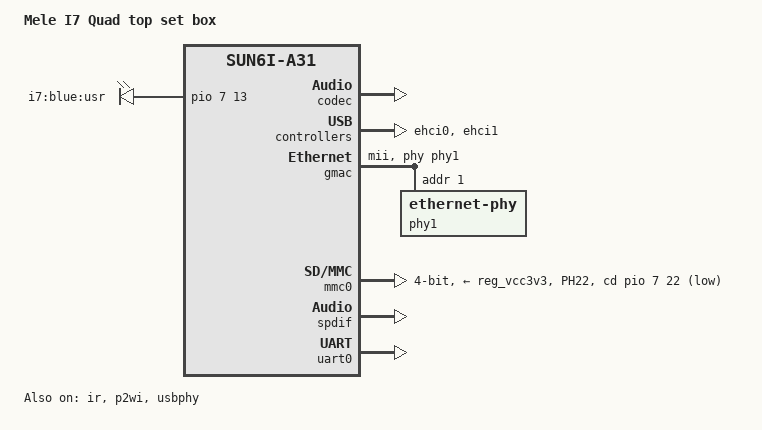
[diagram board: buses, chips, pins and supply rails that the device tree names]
/*
 * Copyright 2015 Marcus Cooper <codekipper@gmail.com>
 *
 * This file is dual-licensed: you can use it either under the terms
 * of the GPL or the X11 license, at your option. Note that this dual
 * licensing only applies to this file, and not this project as a
 * whole.
 *
 *  a) This file is free software; you can redistribute it and/or
 *     modify it under the terms of the GNU General Public License as
 *     published by the Free Software Foundation; either version 2 of the
 *     License, or (at your option) any later version.
 *
 *     This file is distributed in the hope that it will be useful,
 *     but WITHOUT ANY WARRANTY; without even the implied warranty of
 *     MERCHANTABILITY or FITNESS FOR A PARTICULAR PURPOSE.  See the
 *     GNU General Public License for more details.
 *
 * Or, alternatively,
 *
 *  b) Permission is hereby granted, free of charge, to any person
 *     obtaining a copy of this software and associated documentation
 *     files (the "Software"), to deal in the Software without
 *     restriction, including without limitation the rights to use,
 *     copy, modify, merge, publish, distribute, sublicense, and/or
 *     sell copies of the Software, and to permit persons to whom the
 *     Software is furnished to do so, subject to the following
 *     conditions:
 *
 *     The above copyright notice and this permission notice shall be
 *     included in all copies or substantial portions of the Software.
 *
 *     THE SOFTWARE IS PROVIDED "AS IS", WITHOUT WARRANTY OF ANY KIND,
 *     EXPRESS OR IMPLIED, INCLUDING BUT NOT LIMITED TO THE WARRANTIES
 *     OF MERCHANTABILITY, FITNESS FOR A PARTICULAR PURPOSE AND
 *     NONINFRINGEMENT. IN NO EVENT SHALL THE AUTHORS OR COPYRIGHT
 *     HOLDERS BE LIABLE FOR ANY CLAIM, DAMAGES OR OTHER LIABILITY,
 *     WHETHER IN AN ACTION OF CONTRACT, TORT OR OTHERWISE, ARISING
 *     FROM, OUT OF OR IN CONNECTION WITH THE SOFTWARE OR THE USE OR
 *     OTHER DEALINGS IN THE SOFTWARE.
 */

/dts-v1/;
#include "sun6i-a31.dtsi"
#include "sunxi-common-regulators.dtsi"

#include <dt-bindings/gpio/gpio.h>
#include <dt-bindings/pinctrl/sun4i-a10.h>

/ {
	model = "Mele I7 Quad top set box";
	compatible = "mele,i7", "allwinner,sun6i-a31";

	aliases {
		serial0 = &uart0;
	};

	chosen {
		stdout-path = "serial0:115200n8";
	};

	leds {
		compatible = "gpio-leds";
		pinctrl-names = "default";
		pinctrl-0 = <&led_pins_i7>;

		blue {
			label = "i7:blue:usr";
			gpios = <&pio 7 13 GPIO_ACTIVE_HIGH>;
		};
	};

	sound {
		compatible = "allwinner,sunxi-audio-spdif";
		model = "On-board SPDIF";
		spdif-controller = <&spdif>;
		spdif-out;
	};
};

&codec {
	routing =
		"Headphone Jack", "HP Right",
		"Headphone Jack", "HP Left";
	status = "okay";
};

&ehci0 {
	status = "okay";
};

&ehci1 {
	status = "okay";
};

&gmac {
	pinctrl-names = "default";
	pinctrl-0 = <&gmac_pins_mii_a>;
	phy = <&phy1>;
	phy-mode = "mii";
	status = "okay";

	phy1: ethernet-phy@1 {
		reg = <1>;
	};
};

&ir {
	pinctrl-names = "default";
	pinctrl-0 = <&ir_pins_a>;
	status = "okay";
};

&mmc0 {
	pinctrl-names = "default";
	pinctrl-0 = <&mmc0_pins_a>, <&mmc0_cd_pin_i7>;
	vmmc-supply = <&reg_vcc3v3>;
	bus-width = <4>;
	cd-gpios = <&pio 7 22 GPIO_ACTIVE_HIGH>; /* PH22 */
	cd-inverted;
	status = "okay";
};

&p2wi {
	status = "okay";

	axp221: pmic@68 {
		compatible = "x-powers,axp221";
		reg = <0x68>;
		interrupt-parent = <&nmi_intc>;
		interrupts = <0 IRQ_TYPE_LEVEL_LOW>;
		interrupt-controller;
		#interrupt-cells = <1>;
		dcdc1-supply = <&vcc_3v0>;
		dcdc5-supply = <&vcc_dram>;

		regulators {
			x-powers,dcdc-freq = <3000>;

			vcc_3v0: dcdc1 {
				regulator-always-on;
				regulator-min-microvolt = <3000000>;
				regulator-max-microvolt = <3000000>;
				regulator-name = "vcc-3v0";
			};

			vdd_cpu: dcdc2 {
				regulator-always-on;
				regulator-min-microvolt = <700000>;
				regulator-max-microvolt = <1320000>;
				regulator-name = "vdd-cpu";
			};

			vdd_gpu: dcdc3 {
				regulator-always-on;
				regulator-min-microvolt = <700000>;
				regulator-max-microvolt = <1320000>;
				regulator-name = "vdd-gpu";
			};

			vdd_sys_dll: dcdc4 {
				regulator-always-on;
				regulator-min-microvolt = <1100000>;
				regulator-max-microvolt = <1100000>;
				regulator-name = "vdd-sys-dll";
			};

			vcc_dram: dcdc5 {
				regulator-always-on;
				regulator-min-microvolt = <1500000>;
				regulator-max-microvolt = <1500000>;
				regulator-name = "vcc-dram";
			};

			vcc_wifi: aldo1 {
				regulator-min-microvolt = <3300000>;
				regulator-max-microvolt = <3300000>;
				regulator-name = "vcc_wifi";
			};

			avcc: aldo3 {
				regulator-always-on;
				regulator-min-microvolt = <3000000>;
				regulator-max-microvolt = <3000000>;
				regulator-name = "avcc";
			};

			vdd1v5_csi: eldo1 {
				regulator-min-microvolt = <1500000>;
				regulator-max-microvolt = <1500000>;
				regulator-name = "eldo1";
			};

			vdd1v8_csi: eldo2 {
				regulator-min-microvolt = <1800000>;
				regulator-max-microvolt = <1800000>;
				regulator-name = "eldo2";
			};

			vcc_pe: dldo3 {
				regulator-always-on;
				regulator-min-microvolt = <2800000>;
				regulator-max-microvolt = <2800000>;
				regulator-name = "dldo3";
			};
		};
	};
};

&pio {
	led_pins_i7: led_pins@0 {
		allwinner,pins = "PH13";
		allwinner,function = "gpio_out";
		allwinner,drive = <SUN4I_PINCTRL_10_MA>;
		allwinner,pull = <SUN4I_PINCTRL_NO_PULL>;
	};

	mmc0_cd_pin_i7: mmc0_cd_pin@0 {
		allwinner,pins = "PH22";
		allwinner,function = "gpio_in";
		allwinner,drive = <SUN4I_PINCTRL_10_MA>;
		allwinner,pull = <SUN4I_PINCTRL_PULL_UP>;
	};

	usb1_vbus_pin_i7: usb1_vbus_pin@0 {
		allwinner,pins = "PC27";
		allwinner,function = "gpio_out";
		allwinner,drive = <SUN4I_PINCTRL_10_MA>;
		allwinner,pull = <SUN4I_PINCTRL_NO_PULL>;
	};
};

&reg_usb1_vbus {
	pinctrl-names = "default";
	pinctrl-0 = <&usb1_vbus_pin_i7>;
	gpio = <&pio 2 27 GPIO_ACTIVE_HIGH>;
	status = "okay";
};

&spdif {
	pinctrl-names = "default";
	pinctrl-0 = <&spdif_pins_a>;
	spdif-out = "okay";
	status = "okay";
};

&uart0 {
	pinctrl-names = "default";
	pinctrl-0 = <&uart0_pins_a>;
	status = "okay";
};

&usbphy {
	usb1_vbus-supply = <&reg_usb1_vbus>;
	status = "okay";
};
